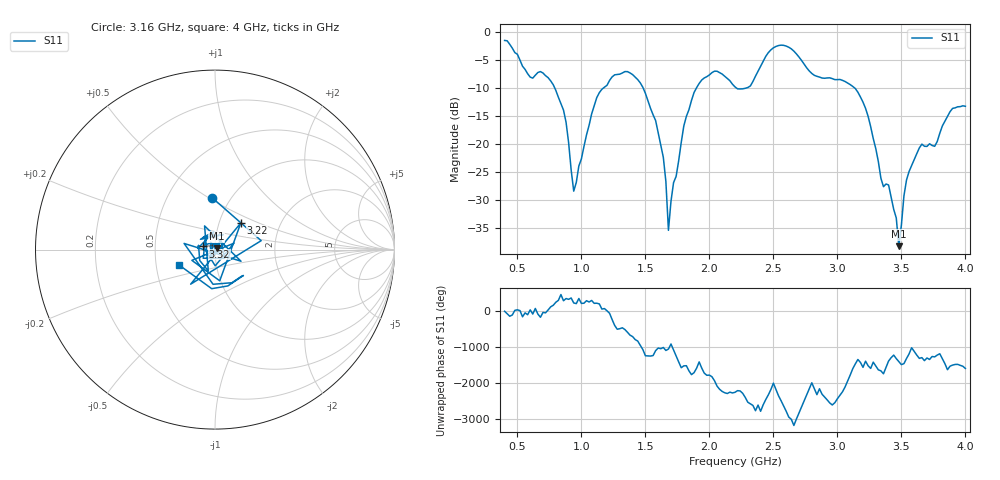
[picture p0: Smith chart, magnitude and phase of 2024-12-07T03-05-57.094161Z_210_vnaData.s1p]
!Created with skrf (http://scikit-rf.org).
# Hz S RI R 50.0
!freq ReS11 ImS11
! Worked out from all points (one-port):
!   181 points, 400 MHz to 4 GHz, reference 50 ohm
!   lowest |S11| = -38.3 dB at 3.48 GHz (marker M1), VSWR 1.02, Z = 51 + j0.688 ohm
!   |S11| at or under -10 dB: 791.1 MHz to 1.174 GHz (382.5 MHz wide, 38.9 % of centre); 1.482 GHz to 1.899 GHz (417.4 MHz wide, 24.7 % of centre); 3.134 GHz to end of sweep (the widest 3 of 4)
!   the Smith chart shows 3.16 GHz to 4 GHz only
!   S11 on the Smith chart (normalised r, x): 3.16 GHz: 0.82, +0.52; 3.22 GHz: 1.27, +0.39; 3.32 GHz: 0.87, +0.03; 4 GHz: 0.66, -0.12
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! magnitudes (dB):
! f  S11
! 400 MHz  -1.5
! 600 MHz  -8.1
! 740 MHz  -8.2
! 860 MHz  -14.0
! 940 MHz  -28.5
! 1.12 GHz  -11.7
! 1.3 GHz  -7.5
! 1.46 GHz  -9.1
! 1.58 GHz  -15.9
! 1.64 GHz  -22.4
! 1.68 GHz  -35.5
! 1.76 GHz  -23.0
! 1.82 GHz  -15.1
! 1.94 GHz  -8.6
! 2.2 GHz  -9.8
! 2.32 GHz  -9.7
! 2.5 GHz  -2.8
! 2.66 GHz  -3.4
! 3.1 GHz  -9.4
! 3.16 GHz  -10.8
! 3.22 GHz  -13.7
! 3.32 GHz  -23.2
! 3.36 GHz  -27.7
! 3.4 GHz  -27.4
! 3.48 GHz  -38.3
! 3.52 GHz  -29.3
! 3.56 GHz  -25.0
! 4 GHz  -13.3
